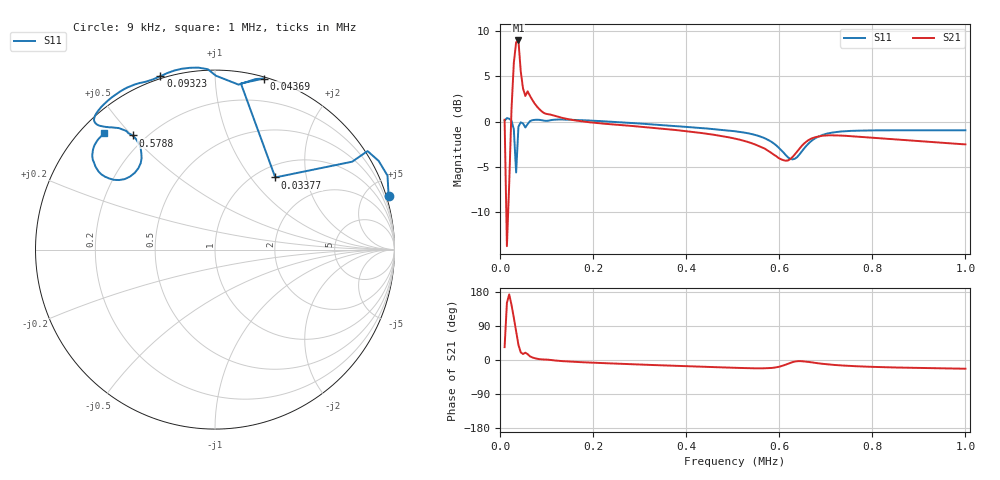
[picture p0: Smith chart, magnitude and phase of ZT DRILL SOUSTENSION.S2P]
!Agilent Technologies,E5071C,MY46109397,A.09.54
!Date: Mon Jan 01 02:17:34 2001
!Data & Calibration Information:
!Freq	S11:SOLT1(ON)	S21:RESPT(ON)	S12:NONE(--)	S22:NONE(--)
# Hz S RI R 50
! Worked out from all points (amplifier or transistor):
!   201 points, 9 kHz to 1 MHz, reference 50 ohm
!   highest |S21| = 9.0 dB at 38.73 kHz (marker M1)
!   |S21| within 3 dB of that: 28.31 kHz to 43.1 kHz (14.79 kHz wide, 41.4 % of centre)
!   S11 on the Smith chart (normalised r, x): 9 kHz: -0.27, +6.64; 33.77 kHz: 1.20, +1.33; 43.69 kHz: 0.01, +1.32; 93.23 kHz: -0.01, +0.73; 578.8 kHz: 0.15, +0.50; 1 MHz: 0.07, +0.43
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9000  0.9675 0.2974  0.8494 0.5715  0 0  0 0
13955  0.9611 0.4122  -0.1796 0.0995  0 0  0 0
18910  0.9118 0.4942  -0.452 0.0539  0 0  0 0
23865  0.8499 0.549  -0.9665 0.6703  0 0  0 0
28820  0.7642 0.4897  -0.7785 1.959  0 0  0 0
33775  0.3357 0.4021  0.6679 2.662  0 0  0 0
38730  0.1443 0.9254  2.153 1.799  0 0  0 0
43685  0.2707 0.9529  1.78 0.6537  0 0  0 0
48640  0.2273 0.9504  1.465 0.4141  0 0  0 0
53595  0.1309 0.9193  1.308 0.4571  0 0  0 0
58550  0.00515 0.9687  1.417 0.3913  0 0  0 0
68460  -0.0925 1.014  1.31 0.1572  0 0  0 0
93235  -0.304 0.9659  1.117 0.0253  0 0  0 0
177470  -0.6266 0.8022  0.9958 -0.1042  0 0  0 0
340985  -0.6579 0.6968  0.8915 -0.2195  0 0  0 0
504500  -0.5654 0.6803  0.7541 -0.2833  0 0  0 0
578825  -0.4596 0.6361  0.6352 -0.2483  0 0  0 0
618465  -0.4139 0.4814  0.6015 -0.1039  0 0  0 0
643240  -0.5336 0.3875  0.7101 -0.037  0 0  0 0
672970  -0.6581 0.4491  0.8076 -0.0991  0 0  0 0
836485  -0.644 0.6219  0.756 -0.2659  0 0  0 0
1000000  -0.6191 0.6471  0.6893 -0.2924  0 0  0 0
